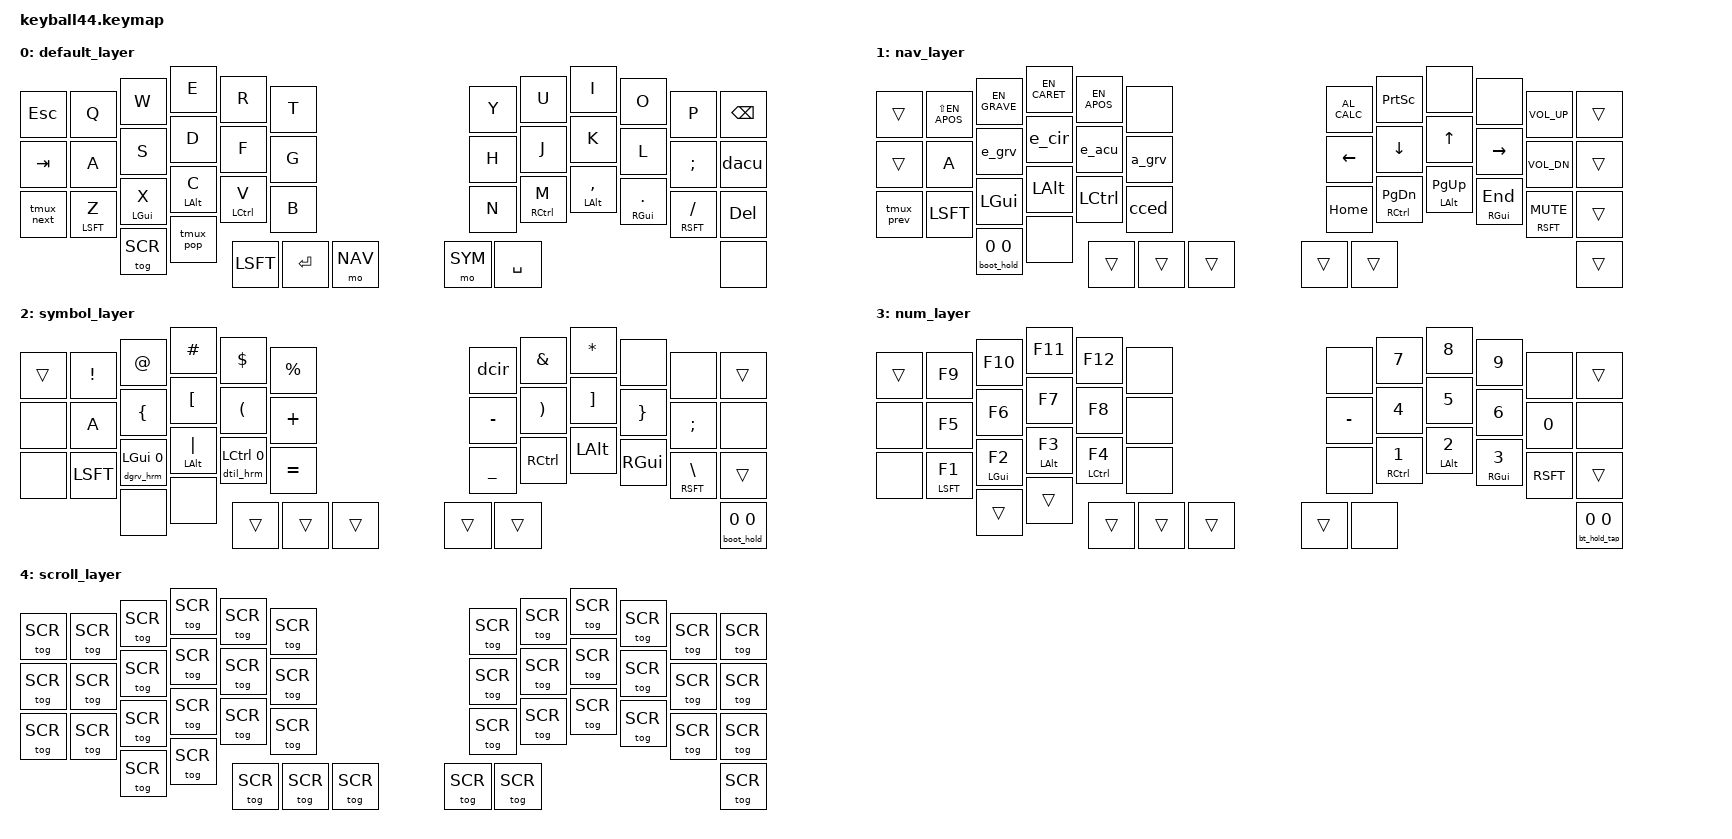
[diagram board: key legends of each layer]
#include <behaviors/mouse_keys.dtsi>
#include <behaviors.dtsi>
#include <dt-bindings/zmk/bt.h>
#include <dt-bindings/zmk/keys.h>
#include <dt-bindings/zmk/mouse.h>
#include "keys_us_international.h"
#include "bluetooth.dtsi"
#include "french.dtsi"
#include "hrm.dtsi"
#include "general.dtsi"
#include "tmux.dtsi"
#include "combos.dtsi"

/ {
    keymap {
        compatible = "zmk,keymap";

        default_layer { // DEF
            bindings = <
&kp ESC    &kp Q &kp W    &kp E     &kp R    &kp T                                   &kp Y     &kp U &kp I     &kp O   &kp P    &kp BSPC
&kp TAB    &kp A &kp S    &kp D     &kp F    &kp G                                   &kp H     &kp J &kp K     &kp L   &kp SEMI &dacu
&tmux_next &hml LSFT Z &hml LGUI X &hml LALT C &hml LCTRL V &kp B                                   &kp N &hmr RCTRL M &hmr LALT COMMA &hmr RGUI DOT &hmr RSFT FSLH &kp DEL
                 &tog SCR &tmux_pop &kp LSFT &kp RET &mo NAV                       &mo SYM &kp SPACE                         &none
            >;
        };

        nav_layer { // NAV
            bindings = <
&trans     &kp LS(EN_APOS) &kp EN_GRAVE   &kp EN_CARET &kp EN_APOS &none                  &kp C_AL_CALC &kp PSCRN &none     &none     &kp C_VOL_UP &trans
&trans     &kp A           &e_grv         &e_cir       &e_acu      &a_grv                 &kp LEFT      &kp DOWN  &kp UP    &kp RIGHT &kp C_VOL_DN &trans
&tmux_prev &kp LSFT        &kp LGUI       &kp LALT     &kp LCTRL   &cced                  &kp HOME      &hmr RCTRL PG_DN &hmr LALT PG_UP &hmr RGUI END &hmr RSFT C_MUTE &trans
                           &boot_hold 0 0 &none        &trans      &trans &trans   &trans &trans                                      &trans
            >;
        };

        symbol_layer { // SYM
            bindings = <
&trans &kp EXCL &kp AT   &kp HASH &kp DLLR &kp PRCNT                 &dcir     &kp AMPS &kp STAR &none    &none          &trans
&none  &kp A    &kp LBRC &kp LBKT &kp LPAR &kp PLUS                  &kp MINUS &kp RPAR &kp RBKT &kp RBRC &kp SEMI       &none
&none  &kp LSFT &dgrv_hrm LGUI 0 &hml LALT PIPE &dtil_hrm LCTRL 0 &kp EQUAL                 &kp UNDER &kp RCTRL &kp LALT &kp RGUI &hmr RSFT BSLH &trans
                &none    &none    &trans   &trans    &trans   &trans &trans                               &boot_hold 0 0       
            >;
        };

        num_layer { // NUM
            bindings = <
&trans &kp F9 &kp F10 &kp F11 &kp F12 &none                  &none     &kp N7 &kp N8 &kp N9 &none  &trans
&none  &kp F5 &kp F6  &kp F7  &kp F8  &none                  &kp MINUS &kp N4 &kp N5 &kp N6 &kp N0 &none
&none  &hml LSFT F1 &hml LGUI F2 &hml LALT F3 &hml LCTRL F4 &none                  &none &hmr RCTRL N1 &hmr LALT N2 &hmr RGUI N3 &kp RSFT &trans
              &trans  &trans  &trans  &trans &trans   &trans &none                          &bt_hold_tap 0 0
            >;
        };

        scroll_layer { // SCR
            bindings = <
&tog SCR &tog SCR &tog SCR &tog SCR &tog SCR &tog SCR                     &tog SCR &tog SCR &tog SCR &tog SCR &tog SCR &tog SCR       
&tog SCR &tog SCR &tog SCR &tog SCR &tog SCR &tog SCR                     &tog SCR &tog SCR &tog SCR &tog SCR &tog SCR &tog SCR
&tog SCR &tog SCR &tog SCR &tog SCR &tog SCR &tog SCR                     &tog SCR &tog SCR &tog SCR &tog SCR &tog SCR &tog SCR
                  &tog SCR &tog SCR &tog SCR &tog SCR &tog SCR   &tog SCR &tog SCR                            &tog SCR      
            >;
        };
    };
};
